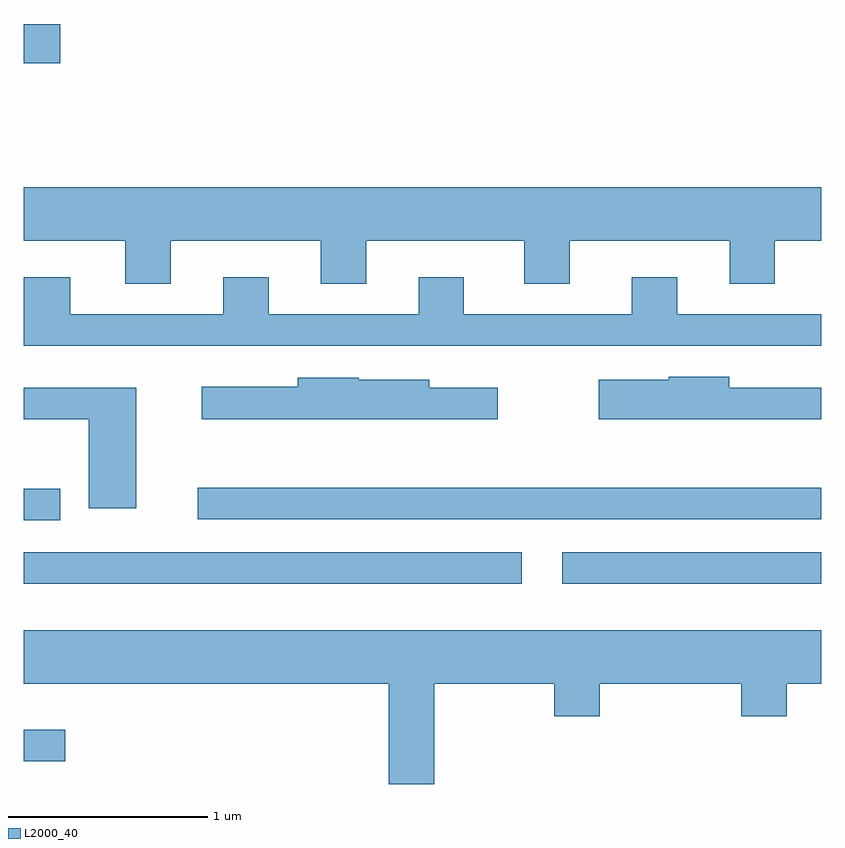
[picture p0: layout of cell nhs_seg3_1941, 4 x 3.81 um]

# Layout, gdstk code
import gdstk
lib = gdstk.Library(unit=1e-6, precision=1e-09)
def R(c, l, rs):  # rectangles x0, y0, x1, y1
    for r in rs: c.add(gdstk.rectangle(r[:2], r[2:], *l))
def P(c, l, *ps):  # polygons
    for p in ps: c.add(gdstk.Polygon(p, *l))
L2000_40 = (2000, 40)

nhs_seg3_1941 = lib.new_cell('nhs_seg3_1941')
R(nhs_seg3_1941, L2000_40, [(241.611,1190.006,241.818,1190.164), (241.611,1190.896,244.108,1191.054), (244.313,1190.896,245.611,1191.054), (241.611,1191.216,241.793,1191.374), (242.483,1191.221,245.611,1191.379), (241.611,1193.506,241.794,1193.704)])
P(nhs_seg3_1941, L2000_40, [(242.349,1192.616),(243.101,1192.616),(243.101,1192.401),(243.329,1192.401),(243.329,1192.616),(244.121,1192.616),(244.121,1192.401),(244.349,1192.401),(244.349,1192.616),(245.151,1192.616),(245.151,1192.401),(245.379,1192.401),(245.379,1192.616),(245.611,1192.616),(245.611,1192.884),(241.611,1192.884),(241.611,1192.616),(242.121,1192.616),(242.121,1192.401),(242.349,1192.401)],
  [(245.611,1192.249),(244.889,1192.249),(244.889,1192.434),(244.661,1192.434),(244.661,1192.249),(243.819,1192.249),(243.819,1192.434),(243.591,1192.434),(243.591,1192.249),(242.839,1192.249),(242.839,1192.434),(242.611,1192.434),(242.611,1192.249),(241.844,1192.249),(241.844,1192.434),(241.611,1192.434),(241.611,1192.091),(245.611,1192.091)],
  [(245.611,1191.879),(245.149,1191.879),(245.149,1191.934),(244.845,1191.934),(244.845,1191.919),(244.496,1191.919),(244.496,1191.721),(245.611,1191.721)],
  [(243.988,1191.879),(243.644,1191.879),(243.644,1191.919),(243.29,1191.919),(243.29,1191.929),(242.986,1191.929),(242.986,1191.884),(242.503,1191.884),(242.503,1191.721),(243.988,1191.721)],
  [(242.174,1191.879),(241.611,1191.879),(241.611,1191.721),(241.936,1191.721),(241.936,1191.276),(242.174,1191.276)],
  [(243.669,1190.396),(244.271,1190.396),(244.271,1190.231),(244.499,1190.231),(244.499,1190.396),(245.211,1190.396),(245.211,1190.231),(245.439,1190.231),(245.439,1190.396),(245.611,1190.396),(245.611,1190.664),(241.611,1190.664),(241.611,1190.396),(243.441,1190.396),(243.441,1189.892),(243.669,1189.892)])

lib.write_gds('nhs_seg3_1941.gds')
